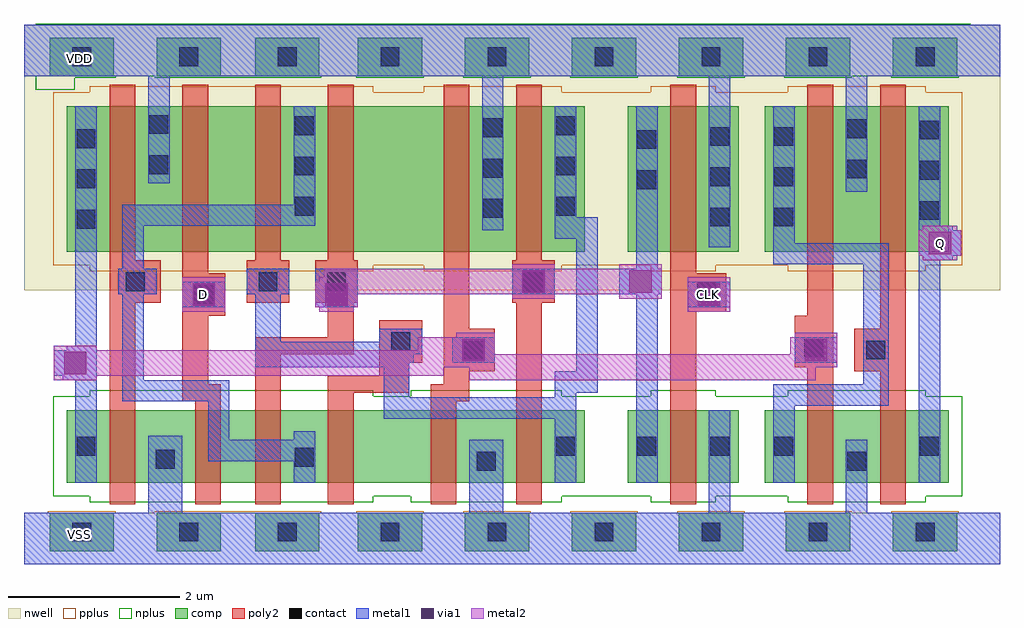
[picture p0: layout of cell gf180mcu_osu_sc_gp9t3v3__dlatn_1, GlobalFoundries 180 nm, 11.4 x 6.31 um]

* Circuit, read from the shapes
.subckt gf180mcu_osu_sc_gp9t3v3__dlatn_1 CLK D Q VDD VSS
XM1 VSS n1 n2 VSS nfet_03v3 w=0.85u l=0.3u
XM2 n3 D VSS VSS nfet_03v3 w=0.85u l=0.3u
XM3 n1 n4 n3 VSS nfet_03v3 w=0.85u l=0.3u
XM4 n5 n6 n1 VSS nfet_03v3 w=0.85u l=0.3u
XM5 VSS n2 n5 VSS nfet_03v3 w=0.85u l=0.3u
XM6 n6 n4 VSS VSS nfet_03v3 w=0.85u l=0.3u
XM7 VSS CLK n4 VSS nfet_03v3 w=0.85u l=0.3u
XM8 VSS n2 n7 VSS nfet_03v3 w=0.85u l=0.3u
XM9 Q n7 VSS VSS nfet_03v3 w=0.85u l=0.3u
XM10 VDD n1 n2 VDD pfet_03v3 w=1.7u l=0.3u
XM11 n8 D VDD VDD pfet_03v3 w=1.7u l=0.3u
XM12 n1 n6 n8 VDD pfet_03v3 w=1.7u l=0.3u
XM13 n9 n4 n1 VDD pfet_03v3 w=1.7u l=0.3u
XM14 VDD n2 n9 VDD pfet_03v3 w=1.7u l=0.3u
XM15 n6 n4 VDD VDD pfet_03v3 w=1.7u l=0.3u
XM16 VDD CLK n4 VDD pfet_03v3 w=1.7u l=0.3u
XM17 VDD n2 n7 VDD pfet_03v3 w=1.7u l=0.3u
XM18 Q n7 VDD VDD pfet_03v3 w=1.7u l=0.3u
.ends

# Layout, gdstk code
import gdstk
lib = gdstk.Library(unit=1e-6, precision=1e-09)
def R(c, l, rs):  # rectangles x0, y0, x1, y1
    for r in rs: c.add(gdstk.rectangle(r[:2], r[2:], *l))
def A(c, l, x, y, w, h, nx, ny, dx, dy):  # array of equal rectangles
    R(c, l, [(x+i*dx, y+j*dy, x+i*dx+w, y+j*dy+h) for i in range(nx) for j in range(ny)])
nwell = (21, 0)
comp = (22, 0)
poly2 = (30, 0)
pplus = (31, 0)
nplus = (32, 0)
contact = (33, 0)
metal1 = (34, 0)
via1 = (35, 0)
metal2 = (36, 0)

gf180mcu_osu_sc_gp9t3v3_ = lib.new_cell('gf180mcu_osu_sc_gp9t3v3__dlatn_1')
R(gf180mcu_osu_sc_gp9t3v3_, nwell, [(0,3.2,11.4,6.3)])
A(gf180mcu_osu_sc_gp9t3v3_, comp, 3.9, 0.15, 0.75, 0.45, 6, 2, 1.25, 5.55)
R(gf180mcu_osu_sc_gp9t3v3_, comp, [(0.3,0.15,1.05,0.6), (1.55,0.15,2.3,0.6), (2.7,0.15,3.45,0.6), (0.5,0.95,6.55,1.8), (7.05,0.95,8.35,1.8), (8.65,0.95,10.8,1.8), (0.5,3.65,6.55,5.35), (7.05,3.65,8.35,5.35), (8.65,3.65,10.8,5.35), (0.3,5.7,1.05,6.15), (1.55,5.7,2.3,6.15), (2.7,5.7,3.45,6.15)])
R(gf180mcu_osu_sc_gp9t3v3_, poly2, [(1,0.7,1.3,3.05), (2,0.7,2.3,1.9), (2.7,0.7,3,2.45), (3.55,0.7,3.85,2), (4.75,0.7,5.05,1.9), (5.75,0.7,6.05,3.05), (7.55,0.7,7.85,2.95), (9.15,0.7,9.45,2.3), (10,0.7,10.3,2.25), (1.85,1.9,2.3,2.1), (4.75,1.9,5.2,2.1), (3.55,2,4.5,2.2), (1.85,2.1,2.15,2.9), (4.9,2.1,5.2,2.25), (4.15,2.2,4.5,2.35), (4.9,2.25,5.5,2.75), (9.7,2.25,10.3,2.75), (9,2.3,9.45,2.9), (4.15,2.35,4.65,2.85), (2.7,2.45,3.85,2.65), (3.55,2.65,3.85,3.05), (4.9,2.75,5.2,5.6), (10,2.75,10.3,5.6), (1.85,2.9,2.35,3.4), (9.15,2.9,9.45,5.6), (7.55,2.95,8.2,3.4), (1,3.05,1.6,3.55), (2.6,3.05,3.1,3.55), (3.4,3.05,3.9,3.55), (5.7,3.05,6.2,3.55), (1.85,3.4,2.15,5.6), (7.55,3.4,7.85,5.6), (1,3.55,1.3,5.6), (2.7,3.55,3,5.6), (3.55,3.55,3.85,5.6), (5.75,3.55,6.05,5.6)])
A(gf180mcu_osu_sc_gp9t3v3_, pplus, 3.88, 0.13, 0.79, 0.49, 6, 1, 1.25, 0)
R(gf180mcu_osu_sc_gp9t3v3_, pplus, [(0,0,11.4,0.6), (0.28,0.13,1.07,0.62), (1.53,0.13,3.47,0.62), (0.77,3.42,4.08,3.49), (4.67,3.42,6.28,3.49), (7.32,3.42,8.08,3.49), (8.92,3.42,10.53,3.49), (0.34,3.49,10.96,5.51), (0.77,5.51,4.08,5.58), (4.67,5.51,6.28,5.58), (7.32,5.51,8.08,5.58), (8.92,5.51,10.53,5.58)])
A(gf180mcu_osu_sc_gp9t3v3_, nplus, 3.88, 5.68, 0.79, 0.02, 6, 1, 1.25, 0)
R(gf180mcu_osu_sc_gp9t3v3_, nplus, [(0.77,0.72,4.08,0.79), (4.52,0.72,6.28,0.79), (7.32,0.72,8.08,0.79), (8.92,0.72,10.53,0.79), (0.34,0.79,10.96,1.96), (0.77,1.96,4.08,2.03), (4.52,1.96,6.28,2.03), (7.32,1.96,8.08,2.03), (8.92,1.96,10.53,2.03), (0.14,5.54,0.59,5.68), (0.14,5.68,1.07,5.7), (1.53,5.68,3.47,5.7), (0,5.7,11.4,6.3), (0,5.7,11.4,6.3), (0.14,6.3,11.06,6.31)])
A(gf180mcu_osu_sc_gp9t3v3_, contact, 4.165, 0.265, 0.22, 0.22, 6, 2, 1.25, 5.55)
A(gf180mcu_osu_sc_gp9t3v3_, contact, 0.615, 3.92, 0.22, 0.22, 1, 3, 0, 0.47)
A(gf180mcu_osu_sc_gp9t3v3_, contact, 8.015, 3.945, 0.22, 0.22, 1, 3, 0, 0.47)
A(gf180mcu_osu_sc_gp9t3v3_, contact, 8.765, 3.945, 0.22, 0.22, 1, 3, 0, 0.47)
A(gf180mcu_osu_sc_gp9t3v3_, contact, 10.465, 4.02, 0.22, 0.22, 1, 3, 0, 0.47)
A(gf180mcu_osu_sc_gp9t3v3_, contact, 5.365, 4.045, 0.22, 0.22, 1, 3, 0, 0.47)
A(gf180mcu_osu_sc_gp9t3v3_, contact, 3.165, 4.07, 0.22, 0.22, 1, 3, 0, 0.47)
A(gf180mcu_osu_sc_gp9t3v3_, contact, 6.215, 4.07, 0.22, 0.22, 1, 3, 0, 0.47)
R(gf180mcu_osu_sc_gp9t3v3_, contact, [(0.565,0.265,0.785,0.485), (1.815,0.265,2.035,0.485), (2.965,0.265,3.185,0.485), (5.29,1.09,5.51,1.31), (9.615,1.09,9.835,1.31), (1.54,1.115,1.76,1.335), (3.165,1.14,3.385,1.36), (0.615,1.265,0.835,1.485), (6.215,1.265,6.435,1.485), (7.165,1.265,7.385,1.485), (8.015,1.265,8.235,1.485), (8.765,1.265,8.985,1.485), (10.465,1.265,10.685,1.485), (5.14,2.39,5.36,2.61), (9.84,2.39,10.06,2.61), (9.115,2.415,9.335,2.635), (4.29,2.49,4.51,2.71), (1.99,3.04,2.21,3.26), (7.865,3.065,8.085,3.285), (1.19,3.19,1.41,3.41), (2.74,3.19,2.96,3.41), (3.54,3.19,3.76,3.41), (5.84,3.19,6.06,3.41), (7.165,4.38,7.385,4.6), (9.615,4.505,9.835,4.725), (1.465,4.555,1.685,4.775), (7.165,4.85,7.385,5.07), (9.615,4.975,9.835,5.195), (1.465,5.025,1.685,5.245), (0.565,5.815,0.785,6.035), (1.815,5.815,2.035,6.035), (2.965,5.815,3.185,6.035)])
R(gf180mcu_osu_sc_gp9t3v3_, metal1, [(0,0,11.4,0.6), (1.45,0.6,1.85,1.5), (5.2,0.6,5.6,1.45), (8,0.6,8.25,1.8), (9.6,0.6,9.85,1.45), (0.6,0.95,0.85,2.15), (3.15,0.95,3.4,1.2), (6.2,0.95,6.45,1.7), (7.15,0.95,7.4,3.15), (8.75,0.95,9,1.85), (10.45,0.95,10.7,3.55), (2.15,1.2,3.4,1.45), (2.15,1.45,2.4,1.9), (3.15,1.45,3.4,1.55), (4.2,1.7,6.45,1.95), (8.75,1.85,10.1,2.1), (1.15,1.9,2.4,2.15), (4.2,1.95,4.5,2.3), (6.2,1.95,6.45,2), (6.2,2,6.7,2.25), (9.8,2.1,10.1,3.5), (0.45,2.15,0.85,2.2), (1.15,2.15,1.4,3.15), (0.35,2.2,0.85,2.5), (6.45,2.25,6.7,3.8), (2.7,2.3,4.5,2.35), (2.7,2.35,4.55,2.45), (5,2.35,5.5,2.65), (9,2.35,9.5,2.65), (2.7,2.45,4.65,2.6), (0.5,2.5,0.85,2.55), (0.6,2.55,0.85,5.35), (2.7,2.6,3,3.15), (4.15,2.6,4.65,2.75), (1.85,3,2.35,3.3), (3.4,3,3.9,3.45), (7.75,3,8.25,3.3), (1.1,3.15,1.55,3.45), (2.6,3.15,3.1,3.45), (5.7,3.15,6.2,3.45), (6.95,3.15,7.45,3.45), (1.15,3.45,1.4,3.95), (7.15,3.45,7.4,5.35), (8.75,3.5,10.1,3.75), (10.45,3.55,10.85,3.6), (10.45,3.6,10.95,3.9), (8,3.7,8.25,5.7), (8.75,3.75,9,5.35), (6.2,3.8,6.7,4.05), (5.35,3.9,5.6,5.7), (10.45,3.9,10.85,3.95), (1.15,3.95,3.4,4.2), (10.45,3.95,10.7,5.35), (6.2,4.05,6.45,5.35), (3.15,4.2,3.4,5.35), (9.6,4.35,9.85,5.7), (1.45,4.45,1.7,5.7), (0,5.7,11.4,6.3)])
R(gf180mcu_osu_sc_gp9t3v3_, via1, [(0.47,2.22,0.73,2.48), (5.12,2.37,5.38,2.63), (9.12,2.37,9.38,2.63), (1.97,3.02,2.23,3.28), (3.52,3.02,3.78,3.28), (7.87,3.02,8.13,3.28), (5.82,3.17,6.08,3.43), (7.07,3.17,7.33,3.43), (10.57,3.62,10.83,3.88)])
R(gf180mcu_osu_sc_gp9t3v3_, metal2, [(0.35,2.15,0.85,2.2), (5.2,2.15,9.25,2.3), (0.35,2.2,4.9,2.3), (0.35,2.3,9.5,2.45), (0.35,2.45,5.5,2.5), (8.95,2.45,9.5,2.65), (0.35,2.5,0.85,2.55), (4.6,2.5,5.5,2.65), (5.05,2.65,5.5,2.7), (9,2.65,9.5,2.7), (1.85,2.95,2.35,3.35), (3.45,2.95,3.85,3), (7.75,2.95,8.25,3.35), (3.4,3,3.9,3.15), (5.7,3.1,6.2,3.15), (6.95,3.1,7.45,3.15), (3.4,3.15,7.45,3.3), (3.45,3.3,7.45,3.35), (3.5,3.35,7.45,3.45), (5.7,3.45,6.2,3.5), (6.95,3.45,7.45,3.5), (10.5,3.55,10.9,3.6), (10.45,3.6,10.95,3.9), (10.5,3.9,10.9,3.95)])
gf180mcu_osu_sc_gp9t3v3_.add(gdstk.Label('D', (2.1,3.15), layer=36, texttype=10))
gf180mcu_osu_sc_gp9t3v3_.add(gdstk.Label('CLK', (8,3.15), layer=36, texttype=10))
gf180mcu_osu_sc_gp9t3v3_.add(gdstk.Label('Q', (10.7,3.75), layer=36, texttype=10))
gf180mcu_osu_sc_gp9t3v3_.add(gdstk.Label('VDD', (0.65,5.9), layer=22, texttype=0))
gf180mcu_osu_sc_gp9t3v3_.add(gdstk.Label('VSS', (0.65,0.35), layer=22, texttype=0))

lib.write_gds('gf180mcu_osu_sc_gp9t3v3__dlatn_1.gds')
